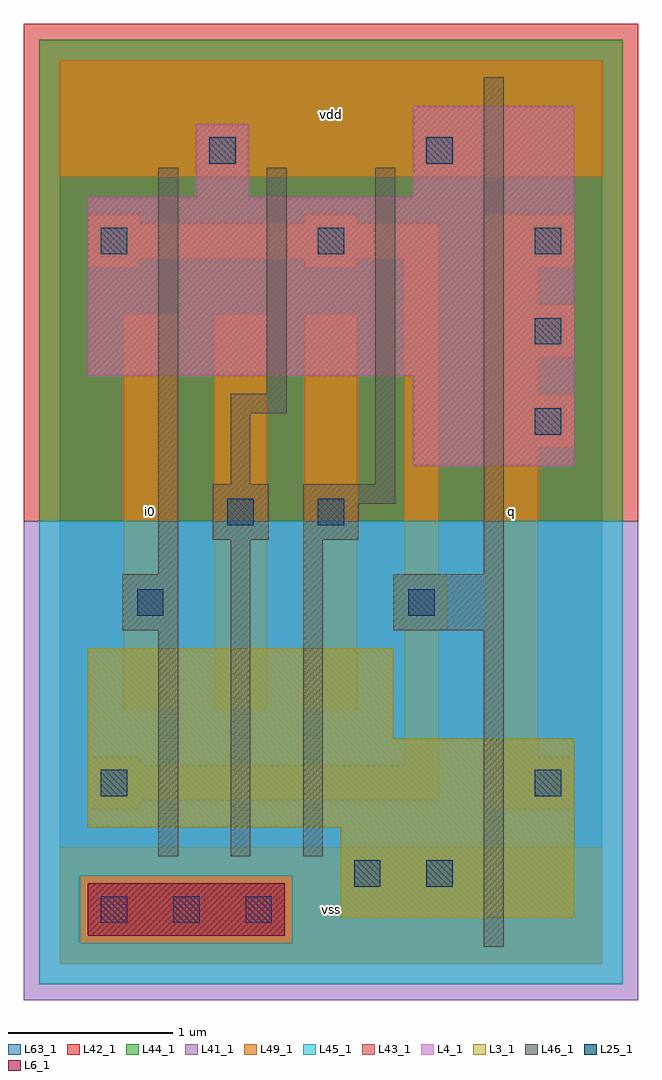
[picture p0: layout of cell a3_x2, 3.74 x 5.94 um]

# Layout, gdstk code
import gdstk
lib = gdstk.Library(unit=1e-6, precision=1e-09)
def R(c, l, rs):  # rectangles x0, y0, x1, y1
    for r in rs: c.add(gdstk.rectangle(r[:2], r[2:], *l))
def A(c, l, x, y, w, h, nx, ny, dx, dy):  # array of equal rectangles
    R(c, l, [(x+i*dx, y+j*dy, x+i*dx+w, y+j*dy+h) for i in range(nx) for j in range(ny)])
L3_1 = (3, 1)
L4_1 = (4, 1)
L6_1 = (6, 1)
L25_1 = (25, 1)
L41_1 = (41, 1)
L42_1 = (42, 1)
L43_1 = (43, 1)
L44_1 = (44, 1)
L45_1 = (45, 1)
L46_1 = (46, 1)
L49_1 = (49, 1)
L63_1 = (63, 1)

a3_x2 = lib.new_cell('a3_x2')
R(a3_x2, L3_1, [(1.71,0.28,3.13,0.83), (0.17,0.83,3.13,1.37), (0.17,1.37,2.03,1.92)])
R(a3_x2, L4_1, [(2.15,3.03,3.13,3.58), (0.17,3.58,3.13,4.67), (0.83,4.67,1.15,5.11), (2.15,4.67,3.13,5.22)])
R(a3_x2, L6_1, [(0.17,0.17,1.37,0.49)])
A(a3_x2, L25_1, 0.25, 0.25, 0.16, 0.16, 3, 1, 0.44, 0)
A(a3_x2, L25_1, 0.25, 4.32, 0.16, 0.16, 3, 1, 1.32, 0)
R(a3_x2, L25_1, [(1.79,0.47,1.95,0.63), (2.23,0.47,2.39,0.63), (0.25,1.02,0.41,1.18), (2.89,1.02,3.05,1.18), (0.47,2.12,0.63,2.28), (2.12,2.12,2.28,2.28), (1.02,2.67,1.18,2.83), (1.57,2.67,1.73,2.83), (2.89,3.22,3.05,3.38), (2.89,3.77,3.05,3.93), (0.91,4.87,1.07,5.03), (2.23,4.87,2.39,5.03)])
R(a3_x2, L41_1, [(-0.22,-0.22,3.52,2.695)])
R(a3_x2, L42_1, [(-0.22,2.695,3.52,5.72)])
R(a3_x2, L43_1, [(0.17,0.17,1.37,0.49), (1.71,0.28,3.13,0.83), (0.17,0.83,3.13,1.37), (0.17,1.37,2.03,1.92), (2.15,3.03,3.13,3.58), (0.17,3.58,3.13,4.67), (0.83,4.67,1.15,5.11), (2.15,4.67,3.13,5.22)])
R(a3_x2, L44_1, [(0.125,0.125,1.415,0.535), (-0.125,2.695,3.425,5.625)])
R(a3_x2, L45_1, [(-0.125,-0.125,3.425,0.125), (-0.125,0.125,0.125,0.535), (1.415,0.125,3.425,0.535), (-0.125,0.535,3.425,2.695)])
R(a3_x2, L46_1, [(2.58,0.105,2.7,2.03), (0.6,0.655,0.72,2.03), (1.04,0.655,1.16,2.58), (1.48,0.655,1.6,2.58), (0.38,2.03,0.72,2.37), (2.03,2.03,2.7,2.37), (0.6,2.37,0.72,4.845), (2.58,2.37,2.7,5.395), (0.93,2.58,1.27,2.92), (1.48,2.58,1.82,2.8), (1.48,2.8,2.04,2.92), (1.04,2.92,1.16,3.35), (1.92,2.92,2.04,4.845), (1.04,3.35,1.38,3.47), (1.26,3.47,1.38,4.845)])
A(a3_x2, L49_1, 0.39, 1.545, 0.32, 2.41, 3, 1, 0.55, 0)
A(a3_x2, L49_1, 2.59, 3.14, 0.54, 0.32, 1, 3, 0, 0.55)
R(a3_x2, L49_1, [(0,0,3.3,0.71), (0.17,0.94,0.49,0.995), (2.59,0.94,3.13,1.26), (0.17,0.995,2.305,1.205), (0.17,1.205,0.49,1.26), (2.095,1.205,2.305,2.04), (2.59,1.26,2.91,3.14), (2.04,2.04,2.36,2.36), (2.095,2.36,2.305,4.295), (2.59,3.46,2.91,3.69), (2.59,4.01,2.91,4.24), (0.17,4.24,0.49,4.295), (1.49,4.24,1.81,4.295), (0.17,4.295,2.305,4.505), (0.17,4.505,0.49,4.56), (1.49,4.505,1.81,4.56), (0,4.79,3.3,5.5)])
R(a3_x2, L63_1, [(0,0,3.3,5.5)])
a3_x2.add(gdstk.Label('i0', (0.55,2.75), layer=49, texttype=1))
a3_x2.add(gdstk.Label('i0', (0.55,2.75), layer=49, texttype=1))
a3_x2.add(gdstk.Label('vss', (1.65,0.33), layer=49, texttype=1))
a3_x2.add(gdstk.Label('vss', (1.65,0.33), layer=49, texttype=1))
a3_x2.add(gdstk.Label('vdd', (1.65,5.17), layer=49, texttype=1))
a3_x2.add(gdstk.Label('vdd', (1.65,5.17), layer=49, texttype=1))
a3_x2.add(gdstk.Label('q', (2.75,2.75), layer=49, texttype=1))
a3_x2.add(gdstk.Label('q', (2.75,2.75), layer=49, texttype=1))

lib.write_gds('a3_x2.gds')
